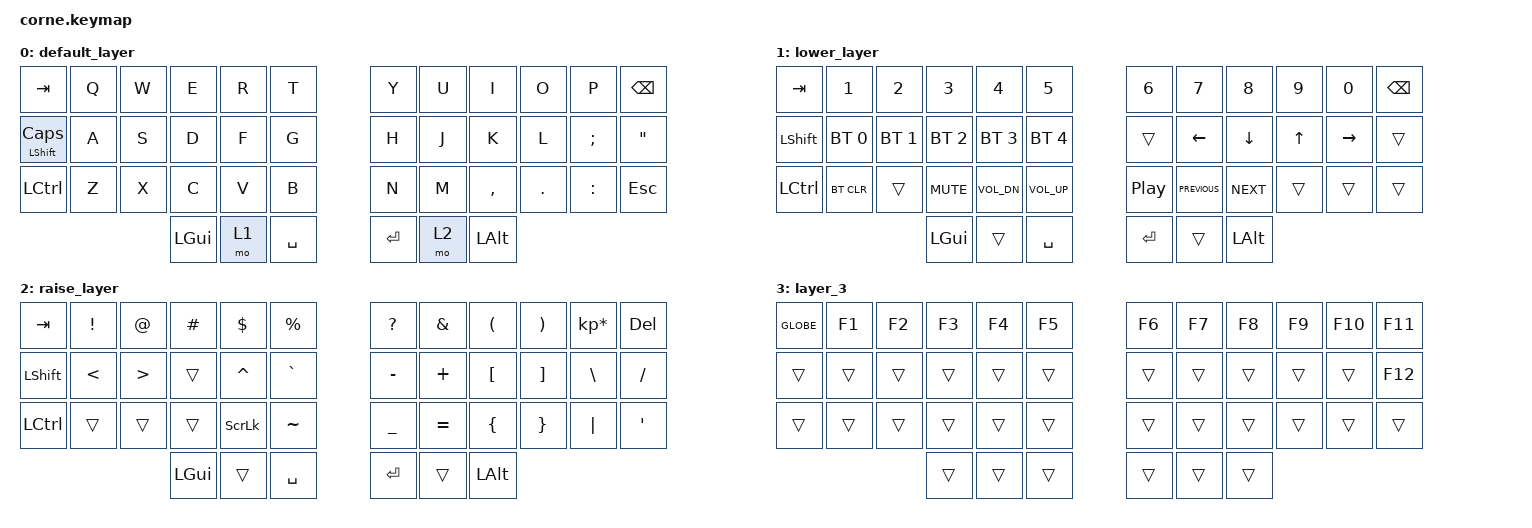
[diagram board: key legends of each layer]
/*
 * Copyright (c) 2020 The ZMK Contributors
 *
 * SPDX-License-Identifier: MIT
 */

#include <behaviors.dtsi>
#include <dt-bindings/zmk/bt.h>
#include <dt-bindings/zmk/keys.h>

/ {
    combos {
        compatible = "zmk,combos";

        Layer3 {
            bindings = <&mo 3>;
            key-positions = <37 40>;
        };
    };

    keymap {
        compatible = "zmk,keymap";

        default_layer {
            // -----------------------------------------------------------------------------------------
            // |  TAB |  Q  |  W  |  E  |  R  |  T  |   |  Y  |  U   |  I  |  O  |  P  | BKSP |
            // | CTRL |  A  |  S  |  D  |  F  |  G  |   |  H  |  J   |  K  |  L  |  ;  |  '   |
            // | SHFT |  Z  |  X  |  C  |  V  |  B  |   |  N  |  M   |  ,  |  .  |  /  | ESC  |
            //                    | GUI | LWR | SPC |   | ENT | RSE  | ALT |

            bindings = <
&kp TAB         &kp Q  &kp W  &kp E     &kp R  &kp T        &kp Y    &kp U  &kp I         &kp O    &kp P      &kp BSPC
&mt LSHFT CLCK  &kp A  &kp S  &kp D     &kp F  &kp G        &kp H    &kp J  &kp K         &kp L    &kp SEMI   &kp DOUBLE_QUOTES
&kp LCTRL       &kp Z  &kp X  &kp C     &kp V  &kp B        &kp N    &kp M  &kp COMMA     &kp DOT  &kp COLON  &kp ESC
                              &kp LGUI  &mo 1  &kp SPACE    &kp RET  &mo 2  &kp LEFT_ALT
            >;
        };

        lower_layer {
            // -----------------------------------------------------------------------------------------
            // |  TAB |  1  |  2  |  3  |  4  |  5  |   |  6  |  7  |  8  |  9  |  0  | BKSP |
            // | BTCLR| BT1 | BT2 | BT3 | BT4 | BT5 |   | LFT | DWN |  UP | RGT |     |      |
            // | SHFT |     |     |     |     |     |   |     |     |     |     |     |      |
            //                    | GUI |     | SPC |   | ENT |     | ALT |

            bindings = <
&kp TAB    &kp N1        &kp N2        &kp N3        &kp N4        &kp N5          &kp N6            &kp N7          &kp N8      &kp N9  &kp N0     &kp BSPC
&kp LSHFT  &bt BT_SEL 0  &bt BT_SEL 1  &bt BT_SEL 2  &bt BT_SEL 3  &bt BT_SEL 4    &trans            &kp LEFT        &kp DOWN    &kp UP  &kp RIGHT  &trans
&kp LCTRL  &bt BT_CLR    &trans        &kp C_MUTE    &kp C_VOL_DN  &kp C_VOL_UP    &kp C_PLAY_PAUSE  &kp C_PREVIOUS  &kp C_NEXT  &trans  &trans     &trans
                                       &kp LGUI      &trans        &kp SPACE       &kp RET           &trans          &kp LALT
            >;
        };

        raise_layer {
            // -----------------------------------------------------------------------------------------
            // |  TAB |  !  |  @  |  #  |  $  |  %  |   |  ^  |  &  |  *  |  (  |  )  | BKSP |
            // | CTRL |     |     |     |     |     |   |  -  |  =  |  [  |  ]  |  \  |  `   |
            // | SHFT |     |     |     |     |     |   |  _  |  +  |  {  |  }  | "|" |  ~   |
            //                    | GUI |     | SPC |   | ENT |     | ALT |

            bindings = <
&kp TAB    &kp EXCL       &kp AT            &kp HASH  &kp DLLR        &kp PRCNT    &kp QUESTION  &kp AMPS   &kp LEFT_PARENTHESIS  &kp RIGHT_PARENTHESIS  &kp KP_MULTIPLY  &kp DELETE
&kp LSHFT  &kp LESS_THAN  &kp GREATER_THAN  &trans    &kp CARET       &kp GRAVE    &kp MINUS     &kp PLUS   &kp LBKT              &kp RBKT               &kp BSLH         &kp SLASH
&kp LCTRL  &trans         &trans            &trans    &kp SCROLLLOCK  &kp TILDE    &kp UNDER     &kp EQUAL  &kp LBRC              &kp RBRC               &kp PIPE         &kp APOSTROPHE
                                            &kp LGUI  &trans          &kp SPACE    &kp RET       &trans     &kp LALT
            >;
        };

        layer_3 {
            bindings = <
&kp GLOBE  &kp F1  &kp F2  &kp F3  &kp F4  &kp F5    &kp F6  &kp F7  &kp F8  &kp F9  &kp F10  &kp F11
&trans     &trans  &trans  &trans  &trans  &trans    &trans  &trans  &trans  &trans  &trans   &kp F12
&trans     &trans  &trans  &trans  &trans  &trans    &trans  &trans  &trans  &trans  &trans   &trans
                           &trans  &trans  &trans    &trans  &trans  &trans
            >;
        };
    };
};
